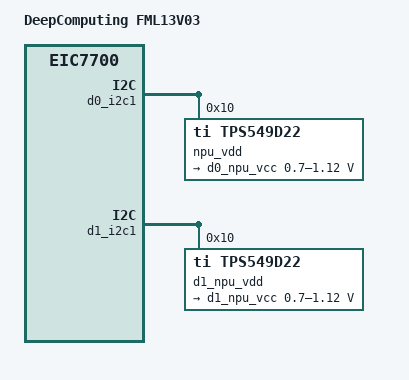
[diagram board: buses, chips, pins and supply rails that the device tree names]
// SPDX-License-Identifier: GPL-2.0
/*
 * Device Tree file for Eswin EIC7702 SoC.
 *
 * Copyright 2024, Beijing ESWIN Computing Technology Co., Ltd.. All rights reserved.
 * SPDX-License-Identifier: GPL-2.0
 *
 * This program is free software: you can redistribute it and/or modify
 * it under the terms of the GNU General Public License as published by
 * the Free Software Foundation, version 2.
 *
 * This program is distributed in the hope that it will be useful,
 * but WITHOUT ANY WARRANTY; without even the implied warranty of
 * MERCHANTABILITY or FITNESS FOR A PARTICULAR PURPOSE.  See the
 * GNU General Public License for more details.
 *
 * You should have received a copy of the GNU General Public License
 * along with this program.  If not, see <https://www.gnu.org/licenses/>.
 */

/dts-v1/;


#include "eic7702-deepcomputing-fml13v03.dts"
/* Clock frequency (in Hz) of the PCB crystal for rtcclk */

/ {
	#address-cells = <2>;
	#size-cells = <2>;
	model = "DeepComputing FML13V03";
	compatible = "deepcomputing,fml13v03", "sifive,hifive-unmatched-a00", "sifive,fu740-c000",
		     "sifive,fu740", "eswin,eic7700";

};

&d0_sys_noc {
	status = "disabled";
};

&d1_sys_noc {
	status = "disabled";
};

&d0_npu{
	status = "disabled";
};

&d1_npu {
	status = "disabled";
};

&d0_dsp_subsys {
	status = "disabled";
};

&d1_dsp_subsys {
	status = "disabled";
};

&d0_dsp0 {
	status = "disabled";
};

&d1_dsp0 {
	status = "disabled";
};

&d0_dsp1 {
	status = "disabled";
};

&d1_dsp1 {
	status = "disabled";
};

&d0_dsp2 {
	status = "disabled";
};

&d1_dsp2 {
	status = "disabled";
};

&d0_dsp3 {
	status = "disabled";
};

&d1_dsp3 {
	status = "disabled";
};

&d0_i2c1 {
	status = "okay";
	tps549d22@10 {
		status = "okay";
		compatible = "ti,tps549d22";
		reg = <0x10>;
		eswin,regulator_default-microvolt=<700000>;
		label = "npu_vdd";
		regulators {
			d0_npu_vcc: npu_svcc {
				regulator-name = "NPU_SVCC";
				regulator-min-microvolt = <700000>;
				regulator-max-microvolt = <1120000>;
				regulator-min-microamp = <20000000>;
				regulator-max-microamp = <40000000>;
				regulator-ov-protection-microvolt = <1100000>;
			};
		};
	};
};

&d1_i2c1 {
	status = "okay";
	tps549d22@10 {
		compatible = "ti,tps549d22";
		reg = <0x10>;
		eswin,regulator_default-microvolt=<700000>;
		label = "d1_npu_vdd";
		regulators {
			d1_npu_vcc: npu_svcc {
				regulator-name = "NPU_SVCC2";
				regulator-min-microvolt = <700000>;
				regulator-max-microvolt = <1120000>;
				regulator-min-microamp = <20000000>;
				regulator-max-microamp = <40000000>;
				regulator-ov-protection-microvolt = <1100000>;
			};
		};
	};
};

&dev_llc_d0{
	/* apply_npu_1G_freq; */
	status = "disabled";
};

&d1_llc_dev{
	/* apply_npu_1G_freq; */
	status = "disabled";
};

